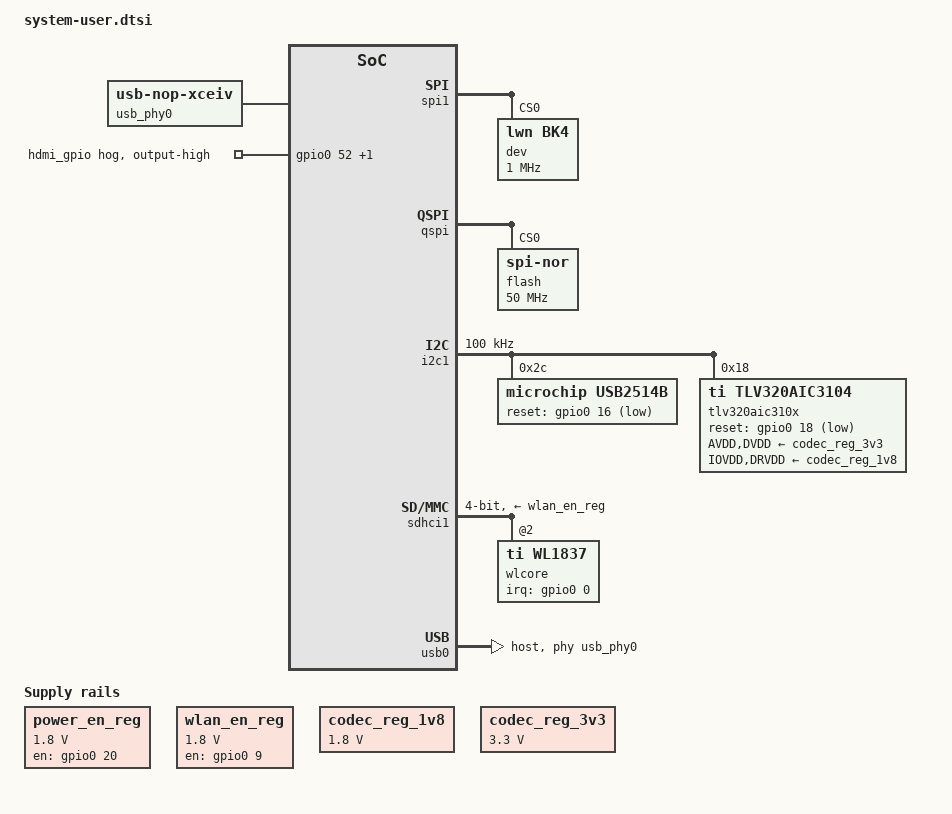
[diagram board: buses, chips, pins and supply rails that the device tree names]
#include <dt-bindings/gpio/gpio.h>
#include <dt-bindings/interrupt-controller/irq.h>
#include <dt-bindings/sound/tlv320aic31xx-micbias.h>

/include/ "system-conf.dtsi"
/ {
    // POWER EN
    power_en_reg: fixed-regulator-powen {
        compatible = "regulator-fixed";
        regulator-name = "power-en-regulator";
        gpio = <&gpio0 20 GPIO_ACTIVE_HIGH>;
        regulator-min-microvolt = <1800000>;
        regulator-max-microvolt = <1800000>;
        startup-delay-us = <70000>;
        regulator-always-on;
        enable-active-high;
    };

    wlan_en_reg: fixedregulator@2 {
        compatible = "regulator-fixed";
        regulator-name = "wlan-en-regulator";
        regulator-min-microvolt = <1800000>;
        regulator-max-microvolt = <1800000>;
        startup-delay-us = <70000>;

        // WLAN_EN GPIO for this board
        gpio = <&gpio0 9 GPIO_ACTIVE_HIGH>;
        enable-active-high;
    };

	// USB
    usb_phy0: phy0 {
        compatible = "usb-nop-xceiv";
        #phy-cells = <0>;
        view-port = <0x170>;
        drv-vbus;
    };

    codec_reg_1v8: regulator-1p8v {
        compatible = "regulator-fixed";
        regulator-name = "codec-regulator-1v8";
        regulator-min-microvolt = <1800000>;
        regulator-max-microvolt = <1800000>;
        regulator-always-on;
    };

    codec_reg_3v3: regulator-3p3v {
        compatible = "regulator-fixed";
        regulator-name = "codec-regulator-3v3";
        regulator-min-microvolt = <3300000>;
        regulator-max-microvolt = <3300000>;
        regulator-always-on;
    };
};

&spi1 {
    status = "okay";
    num-cs = <1>;
    is-decoded-cs = <0>;
    #address-cells = <1>;
    #size-cells = <0>;

    dev@0 {
        compatible = "lwn,bk4";
        reg = <0>;
        spi-max-frequency = <1000000>;
    };
};

&qspi {
    // QSPI
    status = "okay";
    is-dual = <0>;
    num-cs = <1>;
    xlnx,qspi-mode = <1>;

    flash@0 {
        #address-cells = <1>;
        #size-cells =<1>;
        compatible = "jedec,spi-nor";
        reg = <0>;
        spi-max-frequency = <50000000>;
        m25p,fast-read;
    };
};

&i2c1 {
    status = "okay";
    clock-frequency = <100000>;
    #address-cells = <1>;
    #size-cells = <0>;

    // USB Hub
    usb2514b@2c {
        compatible = "microchip,usb2514b";
        reg = <0x2c>;
        reset-gpios = <&gpio0 16 GPIO_ACTIVE_LOW>;
    };

    // Audio Codec
    tlv320aic310x: tlv320aic310x@18 {
        compatible = "ti,tlv320aic3104";
        reg = <0x18>;
        reset-gpios = <&gpio0 18 GPIO_ACTIVE_LOW>;
        /*ai3x-gpio-func = <>;*/  // Not supported on tlv320aic3104
        ai3x-micbias-vg = <MICBIAS_2_0V>; // MicBias Voltage required.
        ai3x-ocmv = <0>; // Output Common-Mode Voltage selection:
        AVDD-supply = <&codec_reg_3v3>; // 3.3V
        IOVDD-supply = <&codec_reg_1v8>; // 1.8V
        DRVDD-supply = <&codec_reg_1v8>; // 3.3V
        DVDD-supply = <&codec_reg_3v3>; // 1.8V
    };
};

&sdhci1 {
    // Wi-Fi
    vmmc-supply = <&wlan_en_reg>;
    bus-width = <4>;
    cap-power-off-card;
    keep-power-in-suspend;
    #address-cells = <1>;
    #size-cells = <0>;

    wlcore: wlcore@2 {
        compatible = "ti,wl1837";
        reg = <2>;
        interrupt-parent = <&gpio0>;
        interrupts = <0 IRQ_TYPE_LEVEL_HIGH>;
    };
};

&usb0 {
    status = "okay";
    dr_mode = "host";
    usb-phy = <&usb_phy0>;
};

&gpio0 {
    // Enable HDMI TX/RX IC 
    hdmi_gpio {
        gpio-hog;
        gpios = <52 GPIO_ACTIVE_HIGH 53 GPIO_ACTIVE_HIGH>;
        output-high;
    };
};
